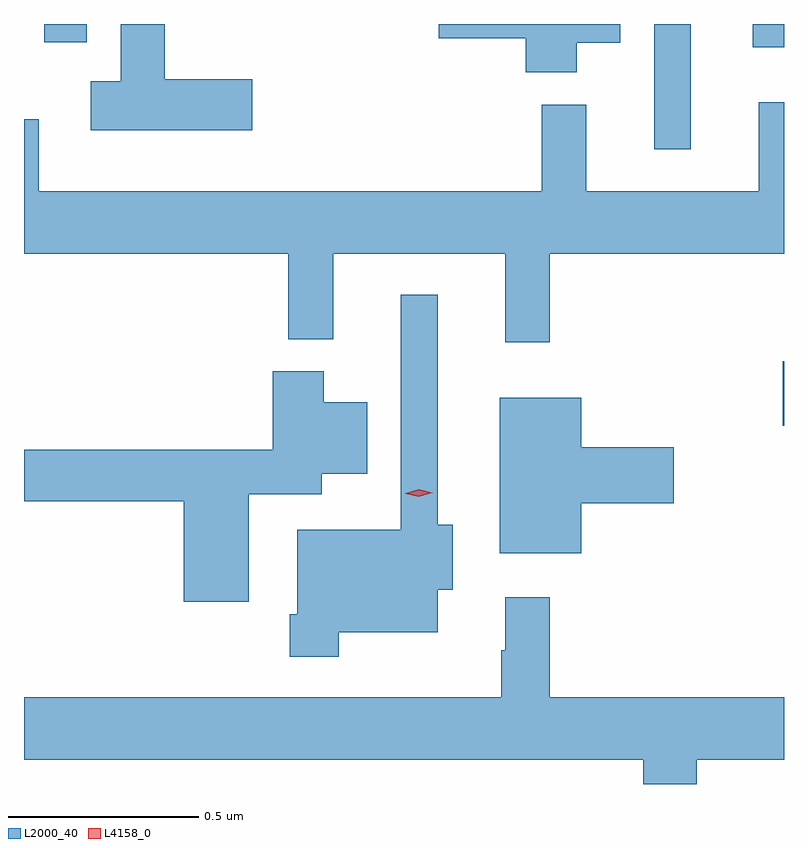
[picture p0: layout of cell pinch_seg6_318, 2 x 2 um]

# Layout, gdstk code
import gdstk
lib = gdstk.Library(unit=1e-6, precision=1e-09)
def R(c, l, rs):  # rectangles x0, y0, x1, y1
    for r in rs: c.add(gdstk.rectangle(r[:2], r[2:], *l))
def P(c, l, *ps):  # polygons
    for p in ps: c.add(gdstk.Polygon(p, *l))
L2000_40 = (2000, 40)
L4158_0 = (4158, 0)

pinch_seg6_318 = lib.new_cell('pinch_seg6_318')
R(pinch_seg6_318, L2000_40, [(660.636,973.523,660.639,973.693), (660.297,974.25,660.394,974.58), (660.557,974.519,660.639,974.58), (658.692,974.532,658.804,974.58)])
P(pinch_seg6_318, L2000_40, [(659.239,974.435),(659.009,974.435),(659.009,974.58),(658.893,974.58),(658.893,974.43),(658.814,974.43),(658.814,974.3),(659.239,974.3)],
  [(660.094,974.531),(660.208,974.531),(660.208,974.58),(659.73,974.58),(659.73,974.542),(659.96,974.542),(659.96,974.453),(660.094,974.453)],
  [(660.023,973.976),(660.639,973.976),(660.639,974.374),(660.572,974.374),(660.572,974.14),(660.119,974.14),(660.119,974.368),(660.001,974.368),(660.001,974.14),(658.678,974.14),(658.678,974.329),(658.639,974.329),(658.639,973.976),(659.335,973.976),(659.335,973.751),(659.453,973.751),(659.453,973.976),(659.906,973.976),(659.906,973.743),(660.023,973.743)],
  [(659.467,972.98),(659.728,972.98),(659.728,973.091),(659.767,973.091),(659.767,973.262),(659.728,973.262),(659.728,973.867),(659.631,973.867),(659.631,973.249),(659.358,973.249),(659.358,973.027),(659.338,973.027),(659.338,972.915),(659.467,972.915)],
  [(659.23,973.343),(659.422,973.343),(659.422,973.397),(659.542,973.397),(659.542,973.585),(659.428,973.585),(659.428,973.666),(659.294,973.666),(659.294,973.46),(658.639,973.46),(658.639,973.324),(659.06,973.324),(659.06,973.059),(659.23,973.059)],
  [(660.106,973.319),(660.349,973.319),(660.349,973.466),(660.106,973.466),(660.106,973.597),(659.891,973.597),(659.891,973.187),(660.106,973.187)],
  [(660.409,972.644),(660.639,972.644),(660.639,972.808),(660.023,972.808),(660.023,973.072),(659.906,973.072),(659.906,972.932),(659.895,972.932),(659.895,972.808),(658.639,972.808),(658.639,972.644),(660.269,972.644),(660.269,972.58),(660.409,972.58)])
P(pinch_seg6_318, L4158_0, [(659.678,973.336),(659.643,973.344),(659.642,973.344),(659.643,973.345),(659.678,973.356),(659.713,973.347),(659.714,973.347),(659.713,973.347)])

lib.write_gds('pinch_seg6_318.gds')
